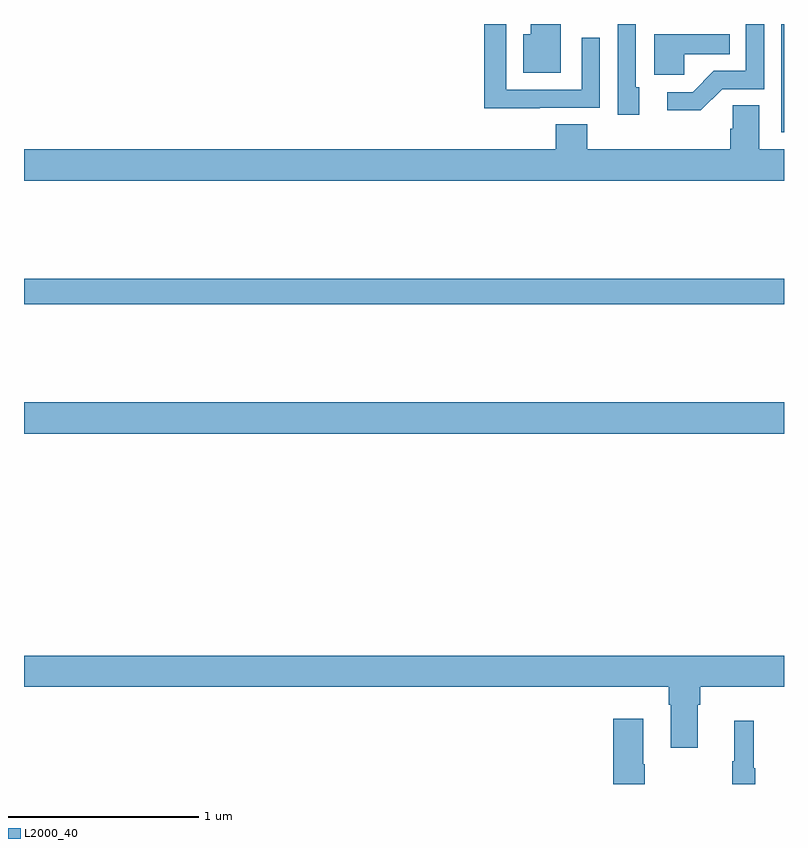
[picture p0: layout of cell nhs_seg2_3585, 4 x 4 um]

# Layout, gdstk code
import gdstk
lib = gdstk.Library(unit=1e-6, precision=1e-09)
def R(c, l, rs):  # rectangles x0, y0, x1, y1
    for r in rs: c.add(gdstk.rectangle(r[:2], r[2:], *l))
def P(c, l, *ps):  # polygons
    for p in ps: c.add(gdstk.Polygon(p, *l))
L2000_40 = (2000, 40)

nhs_seg2_3585 = lib.new_cell('nhs_seg2_3585')
R(nhs_seg2_3585, L2000_40, [(299,639.644,303,639.808), (299,640.324,303,640.46), (302.985,641.229,303,641.8)])
P(nhs_seg2_3585, L2000_40, [(301.825,641.8),(301.667,641.8),(301.667,641.746),(301.628,641.746),(301.628,641.543),(301.825,641.543)],
  [(302.239,641.466),(302.22,641.466),(302.22,641.77),(302.221,641.77),(302.221,641.8),(302.124,641.8),(302.124,641.322),(302.239,641.322)],
  [(302.676,641.457),(302.895,641.457),(302.895,641.8),(302.799,641.8),(302.799,641.553),(302.63,641.553),(302.519,641.442),(302.385,641.442),(302.385,641.345),(302.563,641.345)],
  [(301.715,641.358),(302.031,641.358),(302.031,641.728),(301.935,641.728),(301.935,641.454),(301.539,641.454),(301.539,641.8),(301.423,641.8),(301.423,641.357),(301.715,641.357)],
  [(302.475,641.642),(302.714,641.642),(302.714,641.746),(302.318,641.746),(302.318,641.534),(302.475,641.534)],
  [(303,641.14),(302.869,641.14),(302.869,641.372),(302.73,641.372),(302.73,641.249),(302.717,641.249),(302.717,641.14),(301.964,641.14),(301.964,641.273),(301.799,641.273),(301.799,641.14),(299,641.14),(299,640.976),(303,640.976)],
  [(302.545,638.216),(302.558,638.216),(302.558,638.312),(303,638.312),(303,638.476),(299,638.476),(299,638.312),(302.393,638.312),(302.393,638.216),(302.405,638.216),(302.405,637.992),(302.545,637.992)],
  [(302.268,637.904),(302.26,637.904),(302.26,638.143),(302.102,638.143),(302.102,637.8),(302.268,637.8)],
  [(302.848,637.884),(302.84,637.884),(302.84,638.134),(302.738,638.134),(302.738,637.921),(302.727,637.921),(302.727,637.8),(302.848,637.8)])

lib.write_gds('nhs_seg2_3585.gds')
